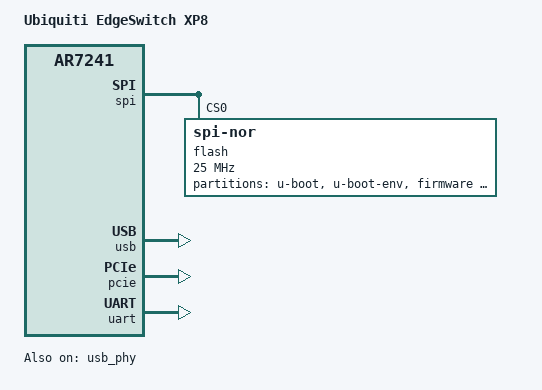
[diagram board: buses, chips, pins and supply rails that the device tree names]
// SPDX-License-Identifier: GPL-2.0-or-later OR MIT
/dts-v1/;

#include <dt-bindings/gpio/gpio.h>
#include <dt-bindings/input/input.h>

#include "ar7241_ubnt_xm.dtsi"

/ {
	compatible = "ubnt,edegeswitch-xp8", "qca,ar7241";
	model = "Ubiquiti EdgeSwitch XP8";

	chosen {
		bootargs = "console=ttyS0,115200n8";
	};

};

&spi {
	status = "okay";

	num-cs = <1>;

	flash@0 {
		compatible = "jedec,spi-nor";
		reg = <0>;
		spi-max-frequency = <25000000>;

		partitions {
			compatible = "fixed-partitions";
			#address-cells = <1>;
			#size-cells = <1>;

			uboot: partition@0 {
				reg = <0x000000 0x040000>;
				label = "u-boot";
				read-only;
			};

			uboot_env: partition@40000 {
				reg = <0x040000 0x010000>;
				label = "u-boot-env";
				read-only;
			};

			firmware: partition@50000 {
				compatible = "denx,uimage";
				reg = <0x050000 0x760000>;
				label = "firmware";
			};

			cfg: partition@7b0000 {
				reg = <0x7b0000 0x040000>;
				label = "cfg";
				read-only;
			};

			art: partition@7f0000 {
				reg = <0x7f0000 0x010000>;
				label = "art";
				read-only;
			};
		};
	};
};

&usb_phy {
	status = "okay";
};

&usb {
	#address-cells = <1>;
	#size-cells = <0>;
	status = "okay";

	hub_port: port@1 {
		reg = <1>;
		#trigger-source-cells = <0>;
	};
};

&pcie {
	status = "okay";
};

&uart {
	status = "okay";
};
